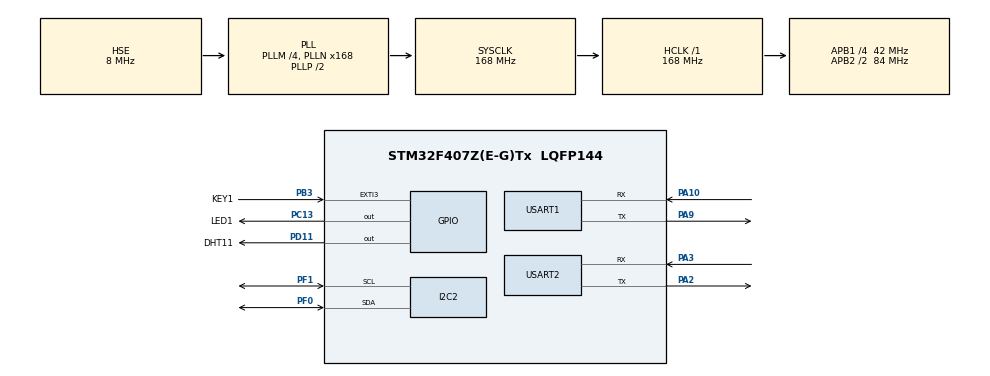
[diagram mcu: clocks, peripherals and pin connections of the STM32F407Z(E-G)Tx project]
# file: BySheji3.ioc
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Mcu.Family=STM32F4
Mcu.Name=STM32F407Z(E-G)Tx
Mcu.Package=LQFP144
NVIC.EXTI3_IRQn=true\:0\:0\:true\:false\:true\:true\:true\:true
NVIC.PriorityGroup=NVIC_PRIORITYGROUP_4
NVIC.USART1_IRQn=true\:0\:0\:true\:false\:true\:true\:true\:true
NVIC.USART2_IRQn=true\:0\:0\:true\:false\:true\:true\:true\:true
PA10.Mode=Asynchronous
PA10.Signal=USART1_RX
PA13.Mode=Serial_Wire
PA13.Signal=SYS_JTMS-SWDIO
PA14.Mode=Serial_Wire
PA14.Signal=SYS_JTCK-SWCLK
PA2.Mode=Asynchronous
PA2.Signal=USART2_TX
PA3.Mode=Asynchronous
PA3.Signal=USART2_RX
PA9.Mode=Asynchronous
PA9.Signal=USART1_TX
PB3.GPIO_Label=KEY1
PB3.GPIO_ModeDefaultEXTI=GPIO_MODE_IT_RISING
PB3.GPIO_PuPd=GPIO_PULLUP
PB3.Signal=GPXTI3
PC13-ANTI_TAMP.GPIO_Label=LED1
PC13-ANTI_TAMP.GPIO_PuPd=GPIO_PULLUP
PC13-ANTI_TAMP.Signal=GPIO_Output
PD11.GPIO_Label=DHT11
PD11.GPIO_ModeDefaultOutputPP=GPIO_MODE_OUTPUT_OD
PD11.GPIO_PuPd=GPIO_PULLUP
PD11.Signal=GPIO_Output
PF0.Mode=I2C
PF0.Signal=I2C2_SDA
PF1.Mode=I2C
PF1.Signal=I2C2_SCL
PH0-OSC_IN.Mode=HSE-External-Oscillator
PH0-OSC_IN.Signal=RCC_OSC_IN
PH1-OSC_OUT.Mode=HSE-External-Oscillator
PH1-OSC_OUT.Signal=RCC_OSC_OUT
ProjectManager.HeapSize=0x200
ProjectManager.StackSize=0x400
ProjectManager.TargetToolchain=MDK-ARM V5
RCC.48MHZClocksFreq_Value=84000000
RCC.AHBFreq_Value=168000000
RCC.APB1CLKDivider=RCC_HCLK_DIV4
RCC.APB1Freq_Value=42000000
RCC.APB1TimFreq_Value=84000000
RCC.APB2CLKDivider=RCC_HCLK_DIV2
RCC.APB2Freq_Value=84000000
RCC.APB2TimFreq_Value=168000000
RCC.CortexFreq_Value=168000000
RCC.HCLKFreq_Value=168000000
RCC.HSE_VALUE=8000000
RCC.HSI_VALUE=16000000
RCC.LSE_VALUE=32768
RCC.PLLM=4
RCC.PLLN=168
RCC.PLLSourceVirtual=RCC_PLLSOURCE_HSE
RCC.SYSCLKFreq_VALUE=168000000
RCC.SYSCLKSource=RCC_SYSCLKSOURCE_PLLCLK
RCC.VCOOutputFreq_Value=336000000
TIM1.Prescaler=72-1
USART1.VirtualMode=VM_ASYNC
USART2.VirtualMode=VM_ASYNC
VP_TIM1_VS_ClockSourceINT.Mode=Internal
board=custom

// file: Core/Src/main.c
/* USER CODE BEGIN Header */
/**
  ******************************************************************************
  * @file           : main.c
  * @brief          : Main program body
  ******************************************************************************
  * @attention
  *
  * Copyright (c) 2025 STMicroelectronics.
  * All rights reserved.
  *
  * This software is licensed under terms that can be found in the LICENSE file
  * in the root directory of this software component.
  * If no LICENSE file comes with this software, it is provided AS-IS.
  *
  ******************************************************************************
  */
/* USER CODE END Header */
#include "main.h"
#include "i2c.h"
#include "tim.h"
#include "usart.h"
#include "gpio.h"

/* USER CODE BEGIN Includes */
#include "oled.h"
#include "bsp_dht11.h"
#include "stm32f4xx_hal.h"
#include <stdio.h>
#include <string.h>
/* USER CODE END Includes */

/* USER CODE BEGIN PTD */
DHT11_T DHT11_data;
uint32_t shiwen;
uint32_t shiwen_decimal;
uint32_t shidu;

/* USER CODE END PTD */

/* USER CODE BEGIN PV */
void HAL_GPIO_EXTI_Callback(uint16_t GPIO_Pin)
{
  if (GPIO_Pin == GPIO_PIN_3)  // 检查是否是KEY1触发的中断
  {
    static uint8_t led_state = 0;  // 静态变量，用于记录LED状态
    if (led_state == 0)
    {
      HAL_GPIO_WritePin(GPIOC, LED1_Pin, GPIO_PIN_SET);  // 点亮LED1
      led_state = 1;  // 更新状态
    }
    else
    {
      HAL_GPIO_WritePin(GPIOC, LED1_Pin, GPIO_PIN_RESET);  // 熄灭LED1
      led_state = 0;  // 更新状态
    }
  }
}
/* USER CODE END PV */

void SystemClock_Config(void);

int main(void)
{

  /* MCU Configuration--------------------------------------------------------*/

  /* Reset of all peripherals, Initializes the Flash interface and the Systick. */
  HAL_Init();

  /* Configure the system clock */
  SystemClock_Config();

  /* Initialize all configured peripherals */
  MX_GPIO_Init();
  MX_I2C2_Init();
  MX_TIM1_Init();
  MX_USART1_UART_Init();
  MX_USART2_UART_Init();
  /* USER CODE BEGIN 2 */
	bsp_InitDHT11();  // 初始化DHT11
  OLED_Init();      // 初始化OLED
  OLED_Clear();     // 清屏
  ESP8266_Init(); // 初始化ESP8266模块，连接WIFI
  ESP8266_ConfigMQTT(); // 配置MQTT连接
  ESP8266_ConnectMQTT(); // 连接MQTT服务器
  ESP8266_SubscribeTopic(); // 订阅主题
  ESP8266_PublishMessage(); // 发布测试消息
  HAL_Delay(1000);
  /* USER CODE END 2 */

  /* Infinite loop */
  while (1)
  {

    /* USER CODE BEGIN 3 */
		if (DHT11_ReadData(&DHT11_data) == 0) {
      // 获取温度和湿度数据
      uint32_t temperature = DHT11_data.Temp;
      uint32_t temperature_decimal = DHT11_data.Temp_decimal;
      uint32_t humidity = DHT11_data.Hum;
			// 发布数据到华为云平台
      ESP8266_PublishDHT11Data(temperature, temperature_decimal, humidity);
      // 格式化数据并显示在OLED上
      char tempBuffer[50];
      char humBuffer[50];
      sprintf(tempBuffer, "Temp: %d.%d'C ", temperature, temperature_decimal);
      sprintf(humBuffer, "Humidity: %d%%", humidity);
      OLED_ShowString(0, 0, (uint8_t *)tempBuffer, 8);  // 显示温度
      OLED_ShowString(0, 2, (uint8_t *)humBuffer, 8);   // 显示湿度

    }
    HAL_Delay(1000);  // 延时1秒
  }
  /* USER CODE END 3 */
}

void SystemClock_Config(void)
{
  RCC_OscInitTypeDef RCC_OscInitStruct = {0};
  RCC_ClkInitTypeDef RCC_ClkInitStruct = {0};

  /** Configure the main internal regulator output voltage
  */
  __HAL_RCC_PWR_CLK_ENABLE();
  __HAL_PWR_VOLTAGESCALING_CONFIG(PWR_REGULATOR_VOLTAGE_SCALE1);

  /** Initializes the RCC Oscillators according to the specified parameters
  * in the RCC_OscInitTypeDef structure.
  */
  RCC_OscInitStruct.OscillatorType = RCC_OSCILLATORTYPE_HSE;
  RCC_OscInitStruct.HSEState = RCC_HSE_ON;
  RCC_OscInitStruct.PLL.PLLState = RCC_PLL_ON;
  RCC_OscInitStruct.PLL.PLLSource = RCC_PLLSOURCE_HSE;
  RCC_OscInitStruct.PLL.PLLM = 4;
  RCC_OscInitStruct.PLL.PLLN = 168;
  RCC_OscInitStruct.PLL.PLLP = RCC_PLLP_DIV2;
  RCC_OscInitStruct.PLL.PLLQ = 4;
  if (HAL_RCC_OscConfig(&RCC_OscInitStruct) != HAL_OK)
  {
    Error_Handler();
  }

  /** Initializes the CPU, AHB and APB buses clocks
  */
  RCC_ClkInitStruct.ClockType = RCC_CLOCKTYPE_HCLK|RCC_CLOCKTYPE_SYSCLK
                              |RCC_CLOCKTYPE_PCLK1|RCC_CLOCKTYPE_PCLK2;
  RCC_ClkInitStruct.SYSCLKSource = RCC_SYSCLKSOURCE_PLLCLK;
  RCC_ClkInitStruct.AHBCLKDivider = RCC_SYSCLK_DIV1;
  RCC_ClkInitStruct.APB1CLKDivider = RCC_HCLK_DIV4;
  RCC_ClkInitStruct.APB2CLKDivider = RCC_HCLK_DIV2;

  if (HAL_RCC_ClockConfig(&RCC_ClkInitStruct, FLASH_LATENCY_5) != HAL_OK)
  {
    Error_Handler();
  }
}

void Error_Handler(void)
{
  __disable_irq();
  while (1)
  {
  }
}
